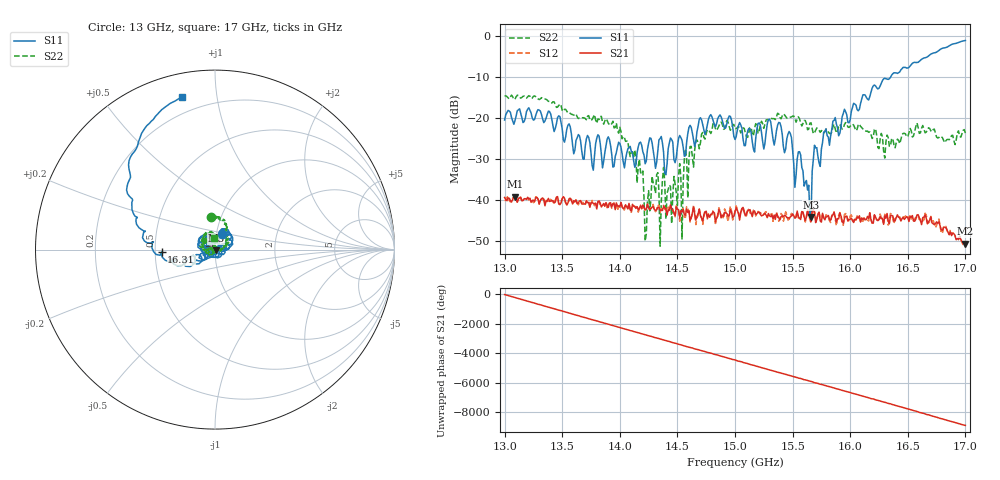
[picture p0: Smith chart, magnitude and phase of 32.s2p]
!Keysight Technologies,P9374A,MY57211807,A.19.30.04
!Date: Friday, May 01, 2026 14:13:23
!Correction: S11(C  2-Port  )
!S21(C  2-Port  )
!S12(C  2-Port  )
!S22(C  2-Port  )
!S2P File: Measurements: S11, S21, S12, S22:
# Hz S  RI  R 50
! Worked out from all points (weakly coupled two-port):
!   401 points, 13 GHz to 17 GHz, reference 50 ohm
!   highest |S21| = -39.21 dB at 13.09 GHz (marker M1); lowest = -50.7 dB at 17 GHz (marker M2)
!   lowest |S11| = -44.2 dB at 15.66 GHz (marker M3), VSWR 1.01, Z = 50.5 - j0.391 ohm
!   |S11| at or under -10 dB: start of sweep to 16.35 GHz
!   |S22| runs from -51.3 to -14.5 dB; largest |S21 - S12| = 0.0014
!   S11 on the Smith chart (normalised r, x): 13 GHz: 1.06, +0.18; 16.31 GHz: 0.54, -0.02; 17 GHz: 0.11, +0.80
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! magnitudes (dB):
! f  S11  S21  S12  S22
! 13 GHz  -20.6  -39.4  -40.2  -14.8
! 13.09 GHz  -20.7  -39.2  -39.5  -15.5
! 13.39 GHz  -18.5  -40.4  -39.9  -16.1
! 13.67 GHz  -28.2  -41.0  -40.8  -20.1
! 13.99 GHz  -26.0  -41.5  -41.6  -23.8
! 14.18 GHz  -26.0  -41.5  -41.3  -33.3
! 14.24 GHz  -27.8  -41.0  -41.1  -40.4
! 14.3 GHz  -29.9  -42.4  -42.5  -36.8
! 14.34 GHz  -25.4  -41.9  -41.4  -38.2
! 14.4 GHz  -33.9  -42.1  -42.3  -44.7
! 14.52 GHz  -24.3  -44.5  -45.2  -31.2
! 14.73 GHz  -23.0  -43.6  -44.0  -24.8
! 14.95 GHz  -19.6  -43.8  -43.3  -22.2
! 15 GHz  -25.3  -43.1  -42.8  -22.7
! 15.39 GHz  -21.3  -44.9  -44.7  -20.0
! 15.66 GHz  -44.2  -45.3  -45.7  -21.3
! 15.67 GHz  -33.0  -42.8  -43.6  -22.7
! 15.69 GHz  -26.7  -42.9  -42.9  -23.7
! 15.78 GHz  -23.4  -44.9  -44.6  -23.3
! 16.31 GHz  -10.5  -44.5  -44.0  -26.0
! 16.34 GHz  -10.5  -45.8  -45.1  -27.0
! 17 GHz  -1.2  -50.7  -50.6  -23.8
